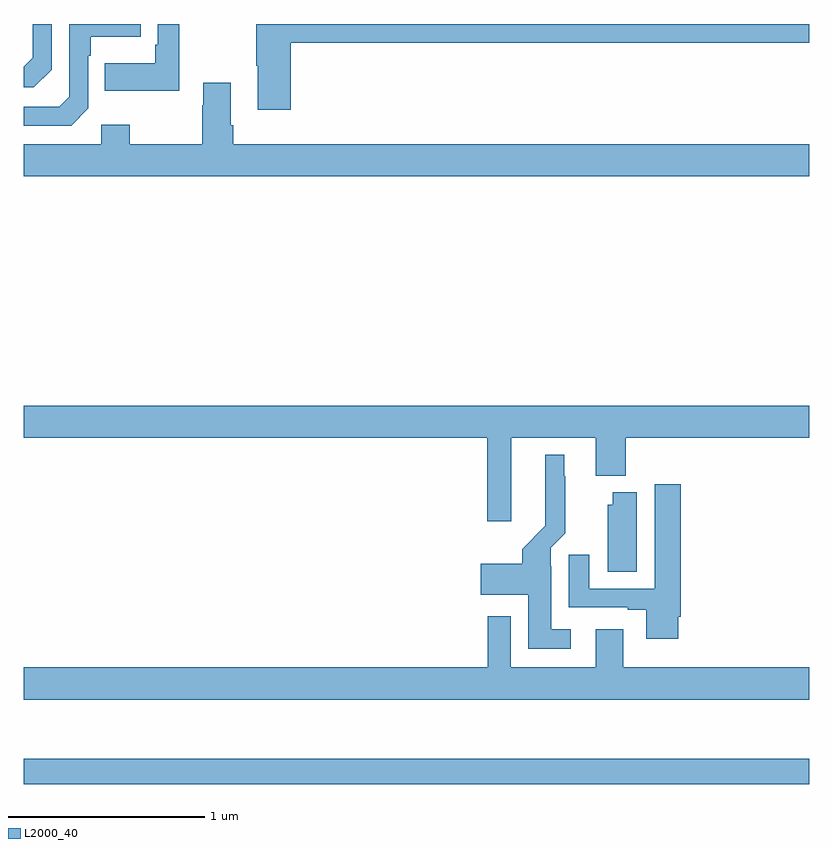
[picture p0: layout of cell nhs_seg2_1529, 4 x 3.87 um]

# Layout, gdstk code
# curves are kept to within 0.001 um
import gdstk
lib = gdstk.Library(unit=1e-6, precision=1e-09)
def R(c, l, rs):  # rectangles x0, y0, x1, y1
    for r in rs: c.add(gdstk.rectangle(r[:2], r[2:], *l))
def P(c, l, *ps):  # polygons
    for p in ps: c.add(gdstk.Polygon(p, *l))
L2000_40 = (2000, 40)

nhs_seg2_1529 = lib.new_cell('nhs_seg2_1529')
R(nhs_seg2_1529, L2000_40, [(191,589.93,195,590.059)])
P(nhs_seg2_1529, L2000_40, [(191.328,593.37),(191.328,593.639),(191.341,593.639),(191.341,593.735),(191.597,593.735),(191.597,593.8),(191.232,593.8),(191.232,593.43),(191.181,593.379),(191,593.379),(191,593.283),(191.241,593.283)],
  [(191.142,593.568),(191.142,593.8),(191.046,593.8),(191.046,593.628),(191,593.582),(191,593.478),(191.052,593.478)],
  [(192.359,593.704),(195,593.704),(195,593.8),(192.184,593.8),(192.184,593.587),(192.191,593.587),(192.191,593.364),(192.359,593.364)],
  [(191.791,593.8),(191.682,593.8),(191.682,593.695),(191.67,593.695),(191.67,593.599),(191.413,593.599),(191.413,593.459),(191.791,593.459)],
  [(195,593.188),(192.068,593.188),(192.068,593.284),(192.055,593.284),(192.055,593.5),(191.915,593.5),(191.915,593.387),(191.908,593.387),(191.908,593.188),(191.541,593.188),(191.541,593.287),(191.394,593.287),(191.394,593.188),(191,593.188),(191,593.024),(195,593.024)],
  [(193.483,591.692),(193.913,591.692),(193.913,591.5),(194.066,591.5),(194.066,591.692),(195,591.692),(195,591.856),(191,591.856),(191,591.692),(193.361,591.692),(193.361,591.267),(193.483,591.267)],
  [(193.786,590.719),(193.687,590.719),(193.687,591.038),(193.683,591.038),(193.683,591.132),(193.757,591.206),(193.757,591.497),(193.753,591.497),(193.753,591.607),(193.655,591.607),(193.656,591.244),(193.538,591.126),(193.538,591.052),(193.326,591.052),(193.326,590.894),(193.568,590.894),(193.568,590.618),(193.786,590.618)],
  [(194.332,590.782),(194.345,590.782),(194.345,591.457),(194.213,591.457),(194.213,590.925),(193.879,590.925),(193.879,591.097),(193.775,591.097),(193.775,590.829),(194.075,590.829),(194.075,590.817),(194.171,590.817),(194.171,590.67),(194.332,590.67)],
  [(194.122,591.415),(194,591.415),(194,591.351),(193.973,591.351),(193.973,591.01),(194.122,591.01)],
  [(195,590.524),(194.053,590.524),(194.053,590.719),(193.913,590.719),(193.913,590.524),(193.479,590.524),(193.479,590.785),(193.363,590.785),(193.363,590.524),(191,590.524),(191,590.36),(195,590.36)])

lib.write_gds('nhs_seg2_1529.gds')
